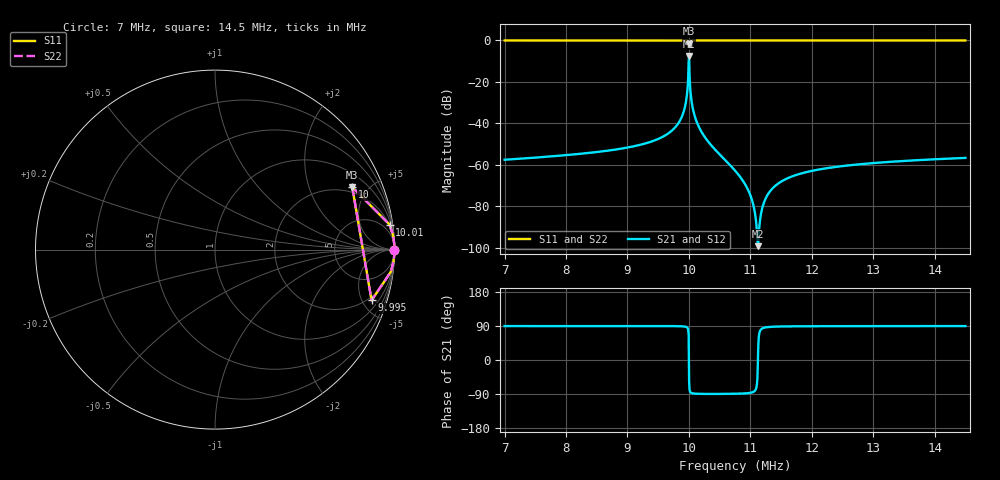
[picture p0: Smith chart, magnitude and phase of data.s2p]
# GHz S MA R 50
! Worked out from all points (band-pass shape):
!   1000 points, 7 MHz to 14.5 MHz, reference 50 ohm
!   highest |S21| = -7.52 dB at 10 MHz (marker M1); lowest = -99.3 dB at 11.12 MHz (marker M2)
!   |S21| within 3 dB of the highest: 9.995155 MHz to 10.00538 MHz (10.23 kHz wide, 0.102 % of centre)
!   lowest |S11| = -1.5 dB at 10 MHz (marker M3), VSWR 11.53, Z = 83 + j197 ohm
!   |S11| at or under -10 dB: nowhere
!   |S22| runs from -1.5 to 0.0 dB; largest |S21 - S12| = 1.7e-16
!   S11 on the Smith chart (normalised r, x): 7 MHz: open; 9.995 MHz: 1.65, -5.87; 10 MHz: 1.66, +3.94; 10.01 MHz: 2, +14; 14.5 MHz: open
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0.007  0.9999 -0.1  0.001321 89.5  0.001321 89.5  0.9999 -0.1
0.008253754  0.9999 -0.1  0.001854 89.6  0.001854 89.6  0.9999 -0.1
0.0095  0.9999 -0.2  0.004201 89.6  0.004201 89.6  0.9999 -0.2
0.00971021  0.9999 -0.4  0.006445 89.5  0.006445 89.5  0.9999 -0.4
0.009852853  0.9998 -0.7  0.01157 89.1  0.01157 89.1  0.9998 -0.7
0.009927928  0.9995 -1.3  0.02239 88.3  0.02239 88.3  0.9995 -1.3
0.009972973  0.9972 -3.3  0.05757 85.6  0.05757 85.6  0.9972 -3.3
0.009995495  0.9171 -18.0  0.3103 65.7  0.3103 65.7  0.9171 -18.0
0.010003  0.8404 24.5  0.4208 -56.0  0.4208 -56.0  0.8404 24.5
0.01001051  0.9831 8.1  0.1416 -79.1  0.1416 -79.1  0.9831 8.1
0.01007808  0.9996 1.0  0.01834 -88.5  0.01834 -88.5  0.9996 1.0
0.01018318  0.9998 0.4  0.007104 -89.3  0.007104 -89.3  0.9998 0.4
0.01075375  0.9999 0.0  0.0007155 -89.0  0.0007155 -89.0  0.9999 0.0
0.01092643  0.9999 0.0  0.000315 -88.0  0.000315 -88.0  0.9999 0.0
0.01106156  0.9999 -0.0  8.769e-05 -83.0  8.769e-05 -83.0  0.9999 -0.0
0.01112162  0.9999 -0.0  1.086e-05 -10.8  1.086e-05 -10.8  0.9999 -0.0
0.01118919  0.9999 -0.0  8.496e-05 82.8  8.496e-05 82.8  0.9999 -0.0
0.01132432  0.9999 -0.0  0.0002335 87.4  0.0002335 87.4  0.9999 -0.0
0.01148198  0.9999 -0.0  0.0003769 88.4  0.0003769 88.4  0.9999 -0.0
0.012  0.9999 -0.0  0.0007123 89.1  0.0007123 89.1  0.9999 -0.0
0.01325375  0.9999 -0.1  0.001172 89.4  0.001172 89.4  0.9999 -0.1
0.0145  0.9999 -0.1  0.001466 89.5  0.001466 89.5  0.9999 -0.1
